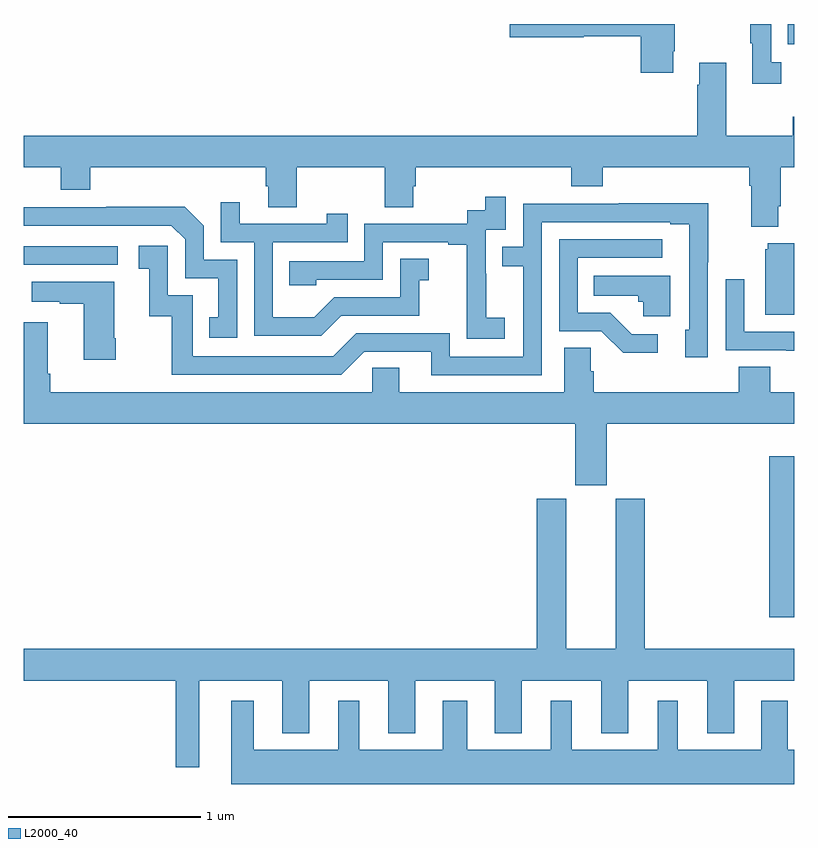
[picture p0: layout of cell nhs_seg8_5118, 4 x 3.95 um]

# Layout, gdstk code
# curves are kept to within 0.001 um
import gdstk
lib = gdstk.Library(unit=1e-6, precision=1e-09)
def R(c, l, rs):  # rectangles x0, y0, x1, y1
    for r in rs: c.add(gdstk.rectangle(r[:2], r[2:], *l))
def P(c, l, *ps):  # polygons
    for p in ps: c.add(gdstk.Polygon(p, *l))
L2000_40 = (2000, 40)

nhs_seg8_5118 = lib.new_cell('nhs_seg8_5118')
R(nhs_seg8_5118, L2000_40, [(422.87,1124.82,423,1125.655), (419,1126.65,419.488,1126.746), (422.965,1127.794,423,1127.9)])
P(nhs_seg8_5118, L2000_40, [(422.932,1127.702),(422.88,1127.702),(422.88,1127.9),(422.772,1127.9),(422.772,1127.801),(422.783,1127.801),(422.783,1127.589),(422.932,1127.589)],
  [(422.371,1127.758),(422.379,1127.758),(422.379,1127.9),(421.524,1127.9),(421.524,1127.831),(421.908,1127.831),(421.908,1127.836),(422.204,1127.836),(422.204,1127.646),(422.371,1127.646)],
  [(422.917,1126.954),(422.93,1126.954),(422.93,1127.156),(423,1127.156),(423,1127.419),(422.992,1127.419),(422.992,1127.32),(422.647,1127.32),(422.647,1127.698),(422.507,1127.698),(422.507,1127.585),(422.495,1127.585),(422.495,1127.32),(419,1127.32),(419,1127.156),(419.192,1127.156),(419.192,1127.039),(419.345,1127.039),(419.345,1127.156),(420.257,1127.156),(420.257,1127.058),(420.269,1127.058),(420.269,1126.948),(420.417,1126.948),(420.417,1127.156),(420.874,1127.156),(420.874,1126.948),(421.021,1126.948),(421.021,1127.058),(421.034,1127.058),(421.034,1127.156),(421.841,1127.156),(421.841,1127.057),(422.006,1127.057),(422.006,1127.156),(422.765,1127.156),(422.765,1127.06),(422.777,1127.06),(422.777,1126.847),(422.917,1126.847)],
  [(421.498,1126.375),(421.4,1126.375),(421.4,1126.604),(421.398,1126.604),(421.398,1126.833),(421.503,1126.833),(421.503,1127.002),(421.395,1127.002),(421.395,1126.932),(421.302,1126.932),(421.302,1126.863),(420.768,1126.863),(420.768,1126.668),(420.379,1126.668),(420.379,1126.545),(420.519,1126.545),(420.519,1126.572),(420.864,1126.572),(420.864,1126.767),(421.205,1126.767),(421.205,1126.755),(421.301,1126.755),(421.301,1126.471),(421.3,1126.471),(421.3,1126.265),(421.498,1126.265)],
  [(420.649,1126.386),(421.053,1126.386),(421.053,1126.571),(421.102,1126.571),(421.102,1126.681),(420.954,1126.681),(420.954,1126.482),(420.612,1126.482),(420.508,1126.378),(420.294,1126.378),(420.294,1126.767),(420.683,1126.767),(420.683,1126.915),(420.572,1126.915),(420.572,1126.863),(420.121,1126.863),(420.121,1126.975),(420.024,1126.975),(420.024,1126.767),(420.198,1126.767),(420.198,1126.281),(420.544,1126.281)],
  [(421.689,1126.872),(422.357,1126.872),(422.357,1126.86),(422.454,1126.86),(422.454,1126.314),(422.435,1126.314),(422.435,1126.17),(422.55,1126.17),(422.55,1126.663),(422.553,1126.663),(422.553,1126.97),(422.089,1126.97),(422.089,1126.968),(421.593,1126.968),(421.593,1126.743),(421.483,1126.743),(421.483,1126.642),(421.593,1126.642),(421.593,1126.173),(421.212,1126.173),(421.212,1126.296),(420.726,1126.296),(420.606,1126.176),(419.877,1126.176),(419.877,1126.491),(419.748,1126.491),(419.748,1126.75),(419.598,1126.75),(419.598,1126.629),(419.651,1126.629),(419.651,1126.383),(419.769,1126.383),(419.769,1126.08),(420.648,1126.08),(420.768,1126.2),(421.115,1126.2),(421.115,1126.077),(421.689,1126.077)],
  [(420.108,1126.677),(419.934,1126.677),(419.934,1126.854),(419.836,1126.952),(419.428,1126.952),(419.428,1126.95),(419,1126.95),(419,1126.854),(419.766,1126.854),(419.838,1126.782),(419.838,1126.581),(420.011,1126.581),(420.011,1126.377),(419.962,1126.377),(419.962,1126.272),(420.108,1126.272)],
  [(422.29,1126.29),(422.155,1126.29),(422.044,1126.401),(421.875,1126.401),(421.875,1126.686),(422.314,1126.686),(422.314,1126.782),(421.779,1126.782),(421.779,1126.305),(421.998,1126.305),(422.111,1126.193),(422.29,1126.193)],
  [(423,1126.762),(422.861,1126.762),(422.861,1126.731),(422.849,1126.731),(422.849,1126.391),(423,1126.391)],
  [(422.356,1126.594),(421.96,1126.594),(421.96,1126.49),(422.191,1126.49),(422.191,1126.458),(422.217,1126.458),(422.217,1126.382),(422.356,1126.382)],
  [(423,1126.302),(422.739,1126.302),(422.739,1126.576),(422.643,1126.576),(422.643,1126.206),(422.959,1126.206),(422.959,1126.205),(423,1126.205)],
  [(419.478,1126.27),(419.47,1126.27),(419.47,1126.561),(419.043,1126.561),(419.043,1126.457),(419.186,1126.457),(419.186,1126.447),(419.312,1126.447),(419.312,1126.158),(419.478,1126.158)],
  [(422.026,1125.824),(423,1125.824),(423,1125.988),(422.876,1125.988),(422.876,1126.121),(422.711,1126.121),(422.711,1125.988),(421.958,1125.988),(421.958,1126.097),(421.944,1126.097),(421.944,1126.22),(421.805,1126.22),(421.805,1125.988),(420.949,1125.988),(420.949,1126.115),(420.81,1126.115),(420.81,1125.988),(419.138,1125.988),(419.138,1126.084),(419.125,1126.084),(419.125,1126.351),(419,1126.351),(419,1125.824),(421.862,1125.824),(421.862,1125.507),(422.026,1125.507)],
  [(419.911,1124.492),(420.341,1124.492),(420.341,1124.219),(420.481,1124.219),(420.481,1124.492),(420.893,1124.492),(420.893,1124.219),(421.033,1124.219),(421.033,1124.492),(421.445,1124.492),(421.445,1124.219),(421.585,1124.219),(421.585,1124.492),(421.997,1124.492),(421.997,1124.219),(422.137,1124.219),(422.137,1124.492),(422.549,1124.492),(422.549,1124.219),(422.689,1124.219),(422.689,1124.492),(423,1124.492),(423,1124.656),(422.225,1124.656),(422.225,1125.435),(422.072,1125.435),(422.072,1124.656),(421.816,1124.656),(421.816,1125.435),(421.664,1125.435),(421.664,1124.656),(419,1124.656),(419,1124.492),(419.79,1124.492),(419.79,1124.043),(419.911,1124.043)],
  [(423,1124.134),(422.965,1124.134),(422.965,1124.386),(422.828,1124.386),(422.828,1124.134),(422.395,1124.134),(422.395,1124.386),(422.291,1124.386),(422.291,1124.134),(421.846,1124.134),(421.846,1124.386),(421.736,1124.386),(421.736,1124.134),(421.303,1124.134),(421.303,1124.386),(421.175,1124.386),(421.175,1124.134),(420.742,1124.134),(420.742,1124.386),(420.632,1124.386),(420.632,1124.134),(420.193,1124.134),(420.193,1124.386),(420.077,1124.386),(420.077,1123.955),(423,1123.955)])

lib.write_gds('nhs_seg8_5118.gds')
